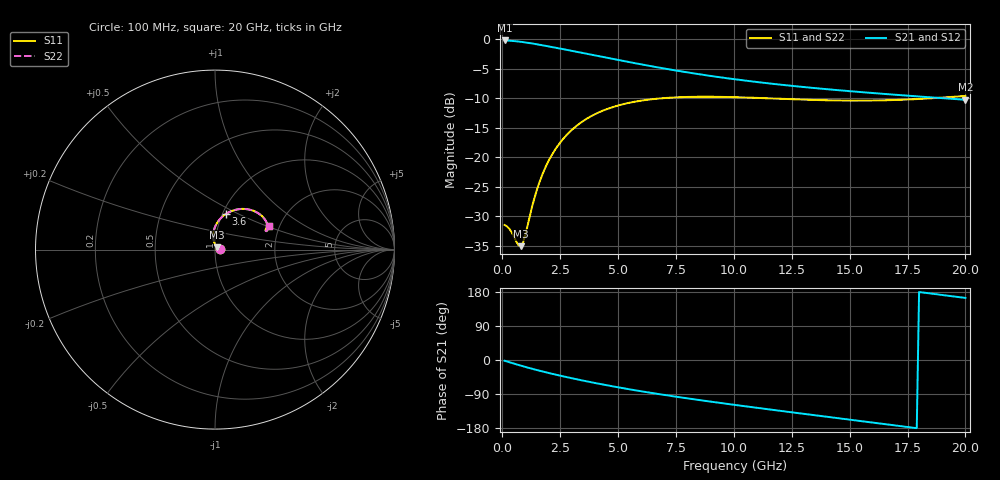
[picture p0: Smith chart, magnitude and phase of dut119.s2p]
! Touchstone file exported from HFSS 2023.1.0
!  File:  D:/Users/fzz/RDL_TSV/temp_RDL_TSV_119_1778750471.aedt
!  Generated:  5:30:50 %x4E0B%x5348  5%x6708 14, 2026
!  Design:  RDL_TSV
!  Project:  temp_RDL_TSV_119_1778750471
!  Setup:  Setup1
!  Solution:  Sweep
! Variables:
!  dtsv = 13.73um
!  hbump = 3um
!  htsv = 80.47um
!  ldown = 668.44um
!  lrdl = 112.62um
!  p = 40
!  p1 = 51.46um
!  rhole = 10um
!  subl = 2455.8um
!  t = 450um
!  tdown = 2.61um
!  trdl = 4.47um
!  viad = 10um
!  wdown = 10.92um
!  wrdl = 12.43um
!  xbump = 18um
# GHz S MA R 50.000000
! Terminal data exported
! Port[1] = TM1_1_T1
! Port[2] = TM1_4_T1
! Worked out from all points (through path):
!   200 points, 100 MHz to 20 GHz, reference 50 ohm
!   highest |S21| = -0.24 dB at 100 MHz (marker M1); lowest = -10.3 dB at 20 GHz (marker M2)
!   group delay of S21, straight-line fit = 25.2 ps
!   lowest |S11| = -35.0 dB at 800 MHz (marker M3), VSWR 1.04, Z = 51.2 + j1.37 ohm
!   |S11| at or under -10 dB: start of sweep to 6.948 GHz; 11.34 GHz to 18.6 GHz (7.261 GHz wide, 48.5 % of centre)
!   |S22| runs from -35.0 to -9.6 dB; largest |S21 - S12| = 8.5e-15
!   S11 on the Smith chart (normalised r, x): 100 MHz: 1.05, +0.00; 3.6 GHz: 1.04, +0.43; 20 GHz: 1.77, +0.53
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0.1  0.02678 1.8  0.9725 -1.9  0.9725 -1.9  0.02678 1.8
! Gamma 0 0 0 0
! Port Impedance 50 0 50 0
0.3  0.02493 6.2  0.9687 -5.8  0.9687 -5.8  0.02493 6.2
0.7  0.01803 34.3  0.9529 -13.1  0.9529 -13.1  0.01804 34.3
0.8  0.01773 49.0  0.9476 -14.9  0.9476 -14.9  0.01775 49.0
0.9  0.01914 64.4  0.9419 -16.7  0.9419 -16.7  0.01916 64.4
1  0.02234 77.2  0.9359 -18.4  0.9359 -18.4  0.02235 77.2
1.3  0.03915 95.7  0.9163 -23.4  0.9163 -23.4  0.03915 95.6
1.5  0.05352 98.6  0.9023 -26.6  0.9023 -26.6  0.05351 98.5
1.7  0.06904 98.4  0.888 -29.7  0.888 -29.7  0.06902 98.4
2  0.09322 95.7  0.8663 -34.2  0.8663 -34.2  0.09318 95.6
2.3  0.1174 91.7  0.8446 -38.6  0.8446 -38.6  0.1174 91.6
2.7  0.1485 85.7  0.816 -44.1  0.816 -44.1  0.1484 85.7
3.5  0.2032 74.0  0.7606 -54.5  0.7606 -54.5  0.203 74.0
3.6  0.2092 72.7  0.7539 -55.8  0.7539 -55.8  0.209 72.6
4.3  0.246 63.7  0.7083 -64.2  0.7083 -64.2  0.2458 63.6
5  0.2741 55.9  0.6657 -72.1  0.6657 -72.1  0.2738 55.8
6.8  0.3145 40.4  0.5719 -90.3  0.5719 -90.3  0.3141 40.3
8.3  0.3247 31.5  0.5111 -103.9  0.5111 -103.9  0.3244 31.4
10.1  0.3222 24.5  0.4553 -119.0  0.4553 -119.0  0.3219 24.5
13.4  0.3057 19.8  0.3862 -145.0  0.3862 -145.0  0.3055 19.8
16.7  0.3041 21.7  0.341 -170.6  0.341 -170.6  0.3039 21.6
20  0.3303 23.8  0.3065 163.8  0.3065 163.8  0.3302 23.7
